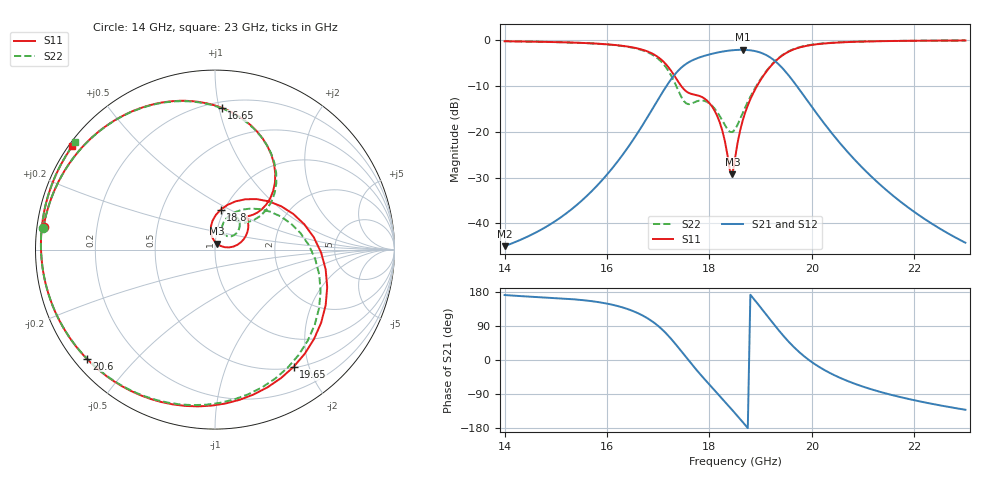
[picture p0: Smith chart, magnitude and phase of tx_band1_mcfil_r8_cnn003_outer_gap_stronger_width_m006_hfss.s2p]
! Touchstone file exported from HFSS 3D Layout Design 2026.1.0
!  File:  D:/Work/SIM/ADS_AUTO_SIM/projects/RFSOC_RF/TX_Fillter.aedt
!  Generated:  11:32:40 PM Aug 30, 2026
!  Design:  TX_BAND1_MCFIL_R8_CNN003
!  Project:  TX_Fillter
# GHz S MA R 50.000000
! Terminal data exported
! Port[1] = Port1
! Port[2] = Port2
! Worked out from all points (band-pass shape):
!   181 points, 14 GHz to 23 GHz, reference 50 ohm
!   highest |S21| = -2.19 dB at 18.65 GHz (marker M1); lowest = -44.9 dB at 14 GHz (marker M2)
!   |S21| within 3 dB of the highest: 17.55 GHz to 19.34 GHz (1.783 GHz wide, 9.67 % of centre)
!   lowest |S11| = -29.3 dB at 18.45 GHz (marker M3), VSWR 1.07, Z = 51.1 + j3.3 ohm
!   |S11| at or under -10 dB: 17.44 GHz to 18.93 GHz (1.489 GHz wide, 8.18 % of centre)
!   |S22| runs from -20.1 to -0.2 dB; largest |S21 - S12| = 4.2e-14
!   S11 on the Smith chart (normalised r, x): 14 GHz: 0.02, +0.07; 16.65 GHz: 0.24, +1.02; 18.8 GHz: 0.96, +0.45; 19.65 GHz: 0.51, -1.76; 20.6 GHz: 0.04, -0.37; 23 GHz: 0.01, +0.32
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14  0.9636 172.4  0.005656 171.4  0.005656 171.4  0.9637 172.8
15.5  0.9246 135.5  0.01758 158.3  0.01758 158.3  0.9237 135.5
16.2  0.8723 110.2  0.04671 142.7  0.04671 142.7  0.8686 109.6
16.65  0.791 87.3  0.1072 120.6  0.1072 120.6  0.7809 85.7
17  0.6459 63.1  0.2247 89.8  0.2247 89.8  0.6204 59.8
17.35  0.3796 41.3  0.4352 40.1  0.4352 40.1  0.3158 36.6
17.55  0.2733 43.9  0.5483 6.3  0.5483 6.3  0.2022 50.1
17.75  0.2497 44.4  0.6254 -26.5  0.6254 -26.5  0.2134 60.3
18.1  0.1696 19.7  0.7142 -79.9  0.7142 -79.9  0.1786 41.0
18.25  0.1037 9.3  0.7426 -102.3  0.7426 -102.3  0.1326 37.1
18.45  0.03436 70.1  0.769 -132.6  0.769 -132.6  0.09879 58.3
18.5  0.05051 96.1  0.7731 -140.3  0.7731 -140.3  0.1055 65.8
18.65  0.1318 99.9  0.7774 -163.7  0.7774 -163.7  0.1591 72.6
18.8  0.2253 81.8  0.7676 172.2  0.7676 172.2  0.2398 61.3
19  0.3649 50.4  0.7239 138.8  0.7239 138.8  0.3723 34.7
19.2  0.5174 15.8  0.6354 104.4  0.6354 104.4  0.523 2.8
19.4  0.6593 -18.5  0.5089 71.0  0.5089 71.0  0.6652 -29.4
19.65  0.7865 -56.2  0.3461 34.1  0.3461 34.1  0.793 -64.9
20  0.8784 -96.1  0.1865 -5.5  0.1865 -5.5  0.8841 -102.7
20.6  0.9383 -139.7  0.06948 -49.9  0.06948 -49.9  0.9419 -144.1
21.5  0.9682 -177.9  0.02199 -90.1  0.02199 -90.1  0.9699 179.3
23  0.9819 144.0  0.006165 -131.3  0.006165 -131.3  0.9827 142.4
